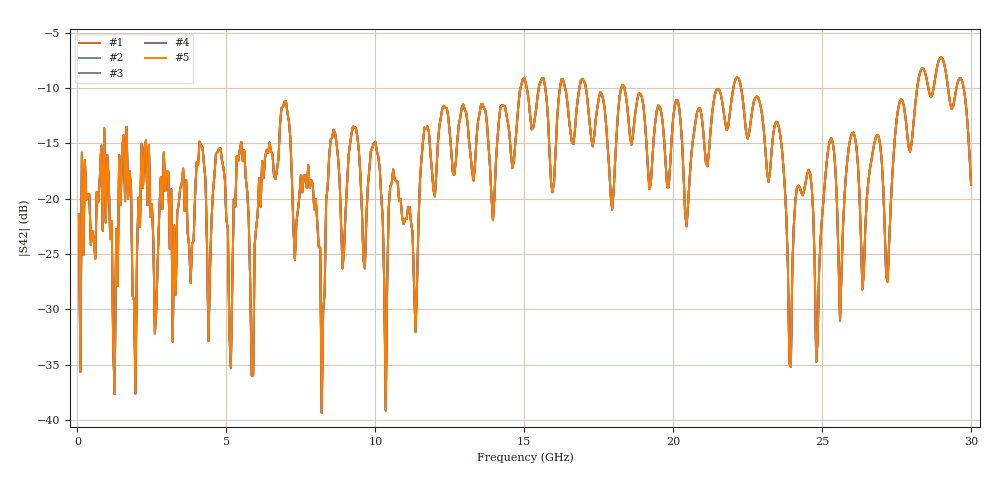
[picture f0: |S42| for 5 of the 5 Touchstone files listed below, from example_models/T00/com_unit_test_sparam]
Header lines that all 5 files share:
! FCI USA LLC
! PART DESCRIPTION: FCI Connector Concept 0.70 m Simulated Channel Model
! FREQUENCY RANGE: 50 MHz to 30 GHz in 50 MHz frequency steps
! PORT DEFINITIONS:
! Information
! FCI endeavors to use its reasonable efforts to place accurate and
! up-to-date information in this Touchstone file.  However, this file is
! provided on an as is basis.  FCI GIVES NO WARRANTY, EXPRESS OR
! IMPLIED, WITH RESPECT TO ANY INFORMATION PROVIDED IN THIS FILE,
! INCLUDING BUT NOT LIMITED TO THE IMPLIED WARRANTIES OF
! MERCHANTABILITY, FITNESS FOR A PARTICULAR PURPOSE OR NON-INFRINGEMENT.
! FCI SHALL NOT BE LIABLE FOR ANY DIRECT, SPECIAL, INDIRECT,
! CONSEQUENTIAL, PUNITIVE OR OTHER DAMAGES BASED ON USE OF THIS FILE.
#	Hz	S	RI	R	50
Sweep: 50 MHz to 30 GHz
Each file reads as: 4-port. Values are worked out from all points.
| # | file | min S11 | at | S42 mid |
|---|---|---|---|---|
| 1 | FCI_CC_Long_Link_Pair_2_to_Pair_9_FEXT.s4p | -44.8 dB | 12.8 GHz | -9.5 dB at 15.05 GHz |
| 2 | FCI_CC_Long_Link_Pair_5_to_Pair_9_FEXT.s4p | -34.8 dB | 4.85 GHz | -9.5 dB at 15.05 GHz |
| 3 | FCI_CC_Long_Link_Pair_8_to_Pair_9_FEXT.s4p | -39.0 dB | 100 MHz | -9.5 dB at 15.05 GHz |
| 4 | FCI_CC_Long_Link_Pair_12_to_Pair_9_NEXT.s4p | -36.6 dB | 100 MHz | -9.5 dB at 15.05 GHz |
| 5 | FCI_CC_Long_Link_Pair_15_to_Pair_9_NEXT.s4p | -39.0 dB | 4 GHz | -9.5 dB at 15.05 GHz |
